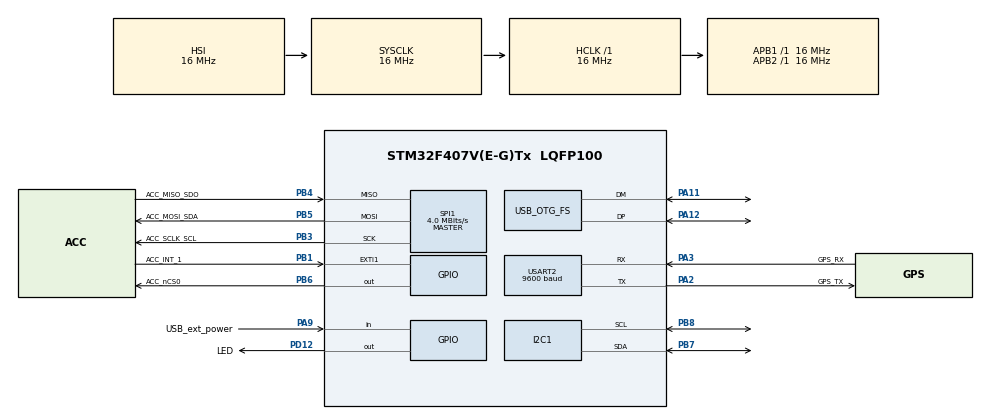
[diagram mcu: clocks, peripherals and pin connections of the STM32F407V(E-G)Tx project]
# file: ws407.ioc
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I2C1.I2C_Mode=I2C_Fast
Mcu.Family=STM32F4
Mcu.Name=STM32F407V(E-G)Tx
Mcu.Package=LQFP100
NVIC.EXTI1_IRQn=true\:0\:0\:false\:false\:true\:true\:true\:true
NVIC.OTG_FS_IRQn=true\:0\:0\:false\:false\:true\:false\:true\:true
NVIC.PriorityGroup=NVIC_PRIORITYGROUP_4
NVIC.USART2_IRQn=true\:0\:0\:false\:false\:true\:true\:true\:true
PA0-WKUP.Mode=SYS_WakeUp0
PA0-WKUP.Signal=SYS_WKUP
PA11.Mode=Device_Only
PA11.Signal=USB_OTG_FS_DM
PA12.Mode=Device_Only
PA12.Signal=USB_OTG_FS_DP
PA13.Mode=Serial_Wire
PA13.Signal=SYS_JTMS-SWDIO
PA14.Mode=Serial_Wire
PA14.Signal=SYS_JTCK-SWCLK
PA2.GPIO_Label=GPS_TX
PA2.Mode=Asynchronous
PA2.Signal=USART2_TX
PA3.GPIO_Label=GPS_RX
PA3.Mode=Asynchronous
PA3.Signal=USART2_RX
PA9.GPIO_Label=USB_ext_power
PA9.Signal=GPIO_Input
PB1.GPIO_Label=ACC_INT_1
PB1.GPIO_ModeDefaultEXTI=GPIO_MODE_IT_RISING
PB1.GPIO_PuPd=GPIO_PULLUP
PB1.Signal=GPXTI1
PB3.GPIO_Label=ACC_SCLK_SCL
PB3.Mode=Full_Duplex_Master
PB3.Signal=SPI1_SCK
PB4.GPIO_Label=ACC_MISO_SDO
PB4.Mode=Full_Duplex_Master
PB4.Signal=SPI1_MISO
PB5.GPIO_Label=ACC_MOSI_SDA
PB5.Mode=Full_Duplex_Master
PB5.Signal=SPI1_MOSI
PB6.GPIO_Label=ACC_nCS0
PB6.GPIO_Speed=GPIO_SPEED_FREQ_LOW
PB6.PinState=GPIO_PIN_SET
PB6.Signal=GPIO_Output
PB7.Mode=I2C
PB7.Signal=I2C1_SDA
PB8.Mode=I2C
PB8.Signal=I2C1_SCL
PC14-OSC32_IN.Mode=LSE-External-Oscillator
PC14-OSC32_IN.Signal=RCC_OSC32_IN
PC15-OSC32_OUT.Mode=LSE-External-Oscillator
PC15-OSC32_OUT.Signal=RCC_OSC32_OUT
PD12.GPIO_Label=LED
PD12.Signal=GPIO_Output
PH0-OSC_IN.Mode=HSE-External-Oscillator
PH0-OSC_IN.Signal=RCC_OSC_IN
PH1-OSC_OUT.Mode=HSE-External-Oscillator
PH1-OSC_OUT.Signal=RCC_OSC_OUT
ProjectManager.HeapSize=0x400
ProjectManager.StackSize=0x800
ProjectManager.TargetToolchain=Makefile
RCC.48MHZClocksFreq_Value=48000000
RCC.AHBFreq_Value=16000000
RCC.APB1Freq_Value=16000000
RCC.APB2Freq_Value=16000000
RCC.CortexFreq_Value=16000000
RCC.HSE_VALUE=8000000
RCC.HSI_VALUE=16000000
RCC.PLLM=4
RCC.PLLN=72
RCC.PLLQ=3
RCC.RCC_RTC_Clock_Source=RCC_RTCCLKSOURCE_LSE
RCC.RCC_RTC_Clock_SourceVirtual=RCC_RTCCLKSOURCE_LSE
RCC.SYSCLKFreq_VALUE=16000000
RCC.VCOOutputFreq_Value=144000000
SPI1.BaudRatePrescaler=SPI_BAUDRATEPRESCALER_4
SPI1.CLKPhase=SPI_PHASE_1EDGE
SPI1.CLKPolarity=SPI_POLARITY_LOW
SPI1.CalculateBaudRate=4.0 MBits/s
SPI1.Direction=SPI_DIRECTION_2LINES
SPI1.FirstBit=SPI_FIRSTBIT_MSB
SPI1.Mode=SPI_MODE_MASTER
SPI1.VirtualType=VM_MASTER
USART2.BaudRate=9600
USART2.VirtualMode=VM_ASYNC
USB_DEVICE.CLASS_NAME_FS=CDC
USB_DEVICE.VirtualMode-CDC_FS=Cdc
USB_DEVICE.VirtualModeFS=Cdc_FS
USB_OTG_FS.VirtualMode=Device_Only
VP_RTC_VS_RTC_Activate.Mode=RTC_Enabled
VP_RTC_VS_RTC_Calendar.Mode=RTC_Calendar
VP_USB_DEVICE_VS_USB_DEVICE_CDC_FS.Mode=CDC_FS
board=custom

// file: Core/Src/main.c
/* USER CODE BEGIN Header */
/**
  ******************************************************************************
  * @file           : main.c
  * @brief          : Main program body
  ******************************************************************************
  * @attention
  *
  * Copyright (c) 2023 STMicroelectronics.
  * All rights reserved.
  *
  * This software is licensed under terms that can be found in the LICENSE file
  * in the root directory of this software component.
  * If no LICENSE file comes with this software, it is provided AS-IS.
  *
  ******************************************************************************
  */
/* USER CODE END Header */
#include "main.h"
#include "i2c.h"
#include "rtc.h"
#include "spi.h"
#include "usart.h"
#include "usb_device.h"
#include "gpio.h"

/* USER CODE BEGIN Includes */
//>>---------------------- Log control
#include "stm32f4xx_ll_pwr.h"

#include "app/application.h"
#include "app/io/gpio/gpio.h"
#include "app/system/wrapper.h"

#define LOG_MODULE_NAME main
#if defined(NDEBUG)
#define LOG_MODULE_LEVEL (0)
#else
#define LOG_MODULE_LEVEL (3)
#endif
#include "app/debug/log_libs.h"

/* USER CODE END Includes */

void SystemClock_Config(void);

/* USER CODE BEGIN 0 */
void HAL_GPIO_EXTI_Callback(uint16_t GPIO_Pin)
{
  if (GPIO_Pin == ACC_INT_1_Pin)
    io_acc_handler();
}
/* USER CODE END 0 */

int main(void)
{

  /* MCU Configuration--------------------------------------------------------*/

  /* Reset of all peripherals, Initializes the Flash interface and the Systick. */
  HAL_Init();

  /* Configure the system clock */
  SystemClock_Config();

  /* Initialize all configured peripherals */
  MX_GPIO_Init();
  MX_RTC_Init();
  MX_USB_DEVICE_Init();
  MX_SPI1_Init();
  MX_I2C1_Init();
  MX_USART2_UART_Init();
  /* USER CODE BEGIN 2 */
  /* Enable backup SRAM Clock */
  __HAL_RCC_BKPSRAM_CLK_ENABLE();
  HAL_PWR_EnableBkUpAccess();
  if (LL_PWR_IsActiveFlag_BRR() == 0)
    HAL_PWREx_EnableBkUpReg();
   __HAL_GPIO_EXTI_CLEAR_IT(ACC_INT_1_Pin);
  application();
  /* USER CODE END 2 */

  /* Infinite loop */
  while (1)
  {

  }
}

void SystemClock_Config(void)
{
  RCC_OscInitTypeDef RCC_OscInitStruct = {0};
  RCC_ClkInitTypeDef RCC_ClkInitStruct = {0};

  /** Configure the main internal regulator output voltage
  */
  __HAL_RCC_PWR_CLK_ENABLE();
  __HAL_PWR_VOLTAGESCALING_CONFIG(PWR_REGULATOR_VOLTAGE_SCALE1);

  /** Initializes the RCC Oscillators according to the specified parameters
  * in the RCC_OscInitTypeDef structure.
  */
  RCC_OscInitStruct.OscillatorType = RCC_OSCILLATORTYPE_HSI|RCC_OSCILLATORTYPE_HSE
                              |RCC_OSCILLATORTYPE_LSE;
  RCC_OscInitStruct.HSEState = RCC_HSE_ON;
  RCC_OscInitStruct.LSEState = RCC_LSE_ON;
  RCC_OscInitStruct.HSIState = RCC_HSI_ON;
  RCC_OscInitStruct.HSICalibrationValue = RCC_HSICALIBRATION_DEFAULT;
  RCC_OscInitStruct.PLL.PLLState = RCC_PLL_ON;
  RCC_OscInitStruct.PLL.PLLSource = RCC_PLLSOURCE_HSE;
  RCC_OscInitStruct.PLL.PLLM = 4;
  RCC_OscInitStruct.PLL.PLLN = 72;
  RCC_OscInitStruct.PLL.PLLP = RCC_PLLP_DIV2;
  RCC_OscInitStruct.PLL.PLLQ = 3;
  if (HAL_RCC_OscConfig(&RCC_OscInitStruct) != HAL_OK)
  {
    Error_Handler();
  }

  /** Initializes the CPU, AHB and APB buses clocks
  */
  RCC_ClkInitStruct.ClockType = RCC_CLOCKTYPE_HCLK|RCC_CLOCKTYPE_SYSCLK
                              |RCC_CLOCKTYPE_PCLK1|RCC_CLOCKTYPE_PCLK2;
  RCC_ClkInitStruct.SYSCLKSource = RCC_SYSCLKSOURCE_HSI;
  RCC_ClkInitStruct.AHBCLKDivider = RCC_SYSCLK_DIV1;
  RCC_ClkInitStruct.APB1CLKDivider = RCC_HCLK_DIV1;
  RCC_ClkInitStruct.APB2CLKDivider = RCC_HCLK_DIV1;

  if (HAL_RCC_ClockConfig(&RCC_ClkInitStruct, FLASH_LATENCY_0) != HAL_OK)
  {
    Error_Handler();
  }
}

/* USER CODE BEGIN 4 */
void SystemClockConfigHighSpeed(void)
{
  RCC_OscInitTypeDef RCC_OscInitStruct = {0};
  RCC_ClkInitTypeDef RCC_ClkInitStruct = {0};

  /** Configure the main internal regulator output voltage
  */
  __HAL_RCC_PWR_CLK_ENABLE();
  __HAL_PWR_VOLTAGESCALING_CONFIG(PWR_REGULATOR_VOLTAGE_SCALE1);

  /** Initializes the RCC Oscillators according to the specified parameters
  * in the RCC_OscInitTypeDef structure.
  */
  RCC_OscInitStruct.OscillatorType = RCC_OSCILLATORTYPE_HSE|RCC_OSCILLATORTYPE_LSE;
  RCC_OscInitStruct.HSEState = RCC_HSE_ON;
  RCC_OscInitStruct.LSEState = RCC_LSE_ON;
  RCC_OscInitStruct.PLL.PLLState = RCC_PLL_ON;
  RCC_OscInitStruct.PLL.PLLSource = RCC_PLLSOURCE_HSE;
  RCC_OscInitStruct.PLL.PLLM = 4;
  RCC_OscInitStruct.PLL.PLLN = 168;
  RCC_OscInitStruct.PLL.PLLP = RCC_PLLP_DIV2;
  RCC_OscInitStruct.PLL.PLLQ = 7;
  if (HAL_RCC_OscConfig(&RCC_OscInitStruct) != HAL_OK)
  {
    Error_Handler();
  }

  /** Initializes the CPU, AHB and APB buses clocks
  */
  RCC_ClkInitStruct.ClockType = RCC_CLOCKTYPE_HCLK|RCC_CLOCKTYPE_SYSCLK
                              |RCC_CLOCKTYPE_PCLK1|RCC_CLOCKTYPE_PCLK2;
  RCC_ClkInitStruct.SYSCLKSource = RCC_SYSCLKSOURCE_PLLCLK;
  RCC_ClkInitStruct.AHBCLKDivider = RCC_SYSCLK_DIV1;
  RCC_ClkInitStruct.APB1CLKDivider = RCC_HCLK_DIV4;
  RCC_ClkInitStruct.APB2CLKDivider = RCC_HCLK_DIV2;

  if (HAL_RCC_ClockConfig(&RCC_ClkInitStruct, FLASH_LATENCY_5) != HAL_OK)
  {
    Error_Handler();
  }
}

void SystemClockConfigLowPower(void)
{
    SystemClock_Config();
}

void SystemInitPeripheral(void)
{
  MX_GPIO_Init();
  MX_RTC_Init();
  MX_USB_DEVICE_Init();
  MX_SPI1_Init();
  MX_I2C1_Init();
  MX_USART2_UART_Init();
}
/* USER CODE END 4 */

void Error_Handler(void)
{
  __disable_irq();
  while (1)
  {
  }
}
